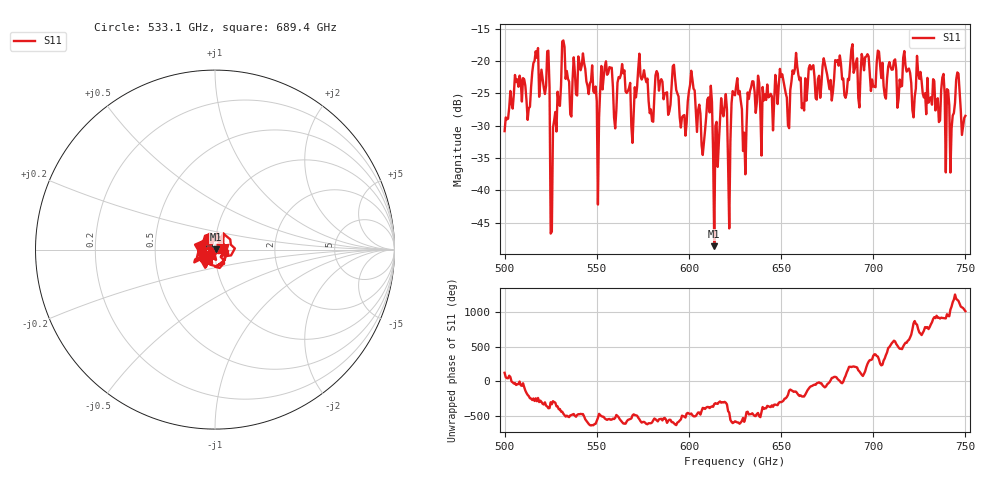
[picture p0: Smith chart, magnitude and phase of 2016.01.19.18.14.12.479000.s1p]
!Created with skrf (http://scikit-rf.org).
# GHz S RI R 50.0
!freq ReS11 ImS11
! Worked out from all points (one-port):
!   401 points, 500 GHz to 750 GHz, reference 50 ohm
!   lowest |S11| = -48.7 dB at 613.8 GHz (marker M1), VSWR 1.01, Z = 50.3 + j0.174 ohm
!   |S11| at or under -10 dB: start of sweep to end of sweep
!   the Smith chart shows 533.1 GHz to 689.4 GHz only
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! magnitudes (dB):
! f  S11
! 500 GHz  -30.8
! 506.9 GHz  -22.8
! 513.1 GHz  -27.3
! 516.9 GHz  -18.5
! 523.1 GHz  -18.5
! 526.2 GHz  -30.3
! 531.2 GHz  -16.9
! 542.5 GHz  -18.8
! 550 GHz  -26.2
! 553.8 GHz  -22.5
! 562.5 GHz  -22.6
! 570 GHz  -28.3
! 573.8 GHz  -22.3
! 579.4 GHz  -27.5
! 593.8 GHz  -25.0
! 601.9 GHz  -22.8
! 608.1 GHz  -32.7
! 611.2 GHz  -27.9
! 613.8 GHz  -48.7
! 618.8 GHz  -28.5
! 621.9 GHz  -45.9
! 625 GHz  -25.3
! 630 GHz  -31.1
! 634.4 GHz  -23.1
! 656.2 GHz  -21.4
! 687.5 GHz  -20.6
! 718.8 GHz  -21.4
! 750 GHz  -28.5
